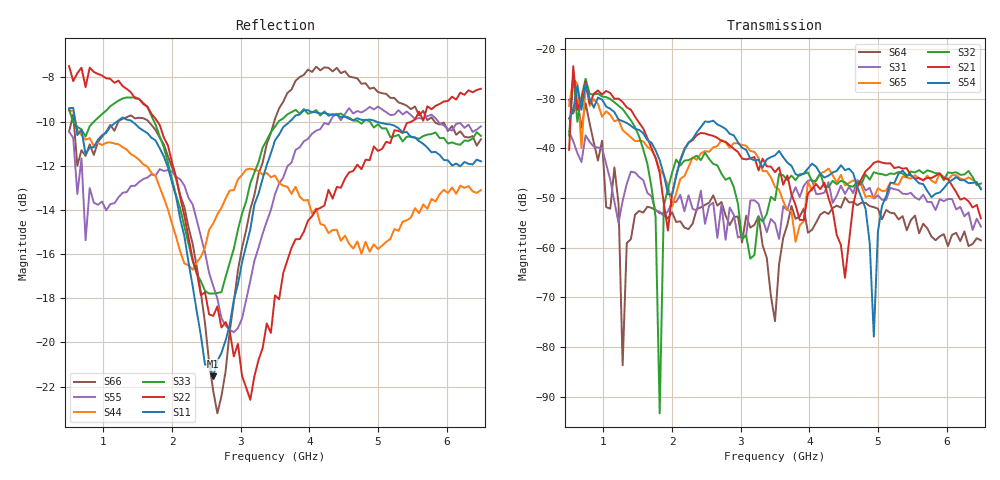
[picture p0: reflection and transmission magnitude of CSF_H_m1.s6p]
!Keysight Technologies,M9804A,MY58100912,A.14.10.03
!Date: Thursday, April 27, 2023 10:28:33
!Correction: S11(C  6-Port  )
!S12(C  6-Port  )
!S13(C  6-Port  )
!S14(C  6-Port  )
!S15(C  6-Port  )
!S16(C  6-Port  )
!S21(C  6-Port  )
!S22(C  6-Port  )
!S23(C  6-Port  )
!S24(C  6-Port  )
!S25(C  6-Port  )
!S26(C  6-Port  )
!S31(C  6-Port  )
!S32(C  6-Port  )
!S33(C  6-Port  )
!S34(C  6-Port  )
!S35(C  6-Port  )
!S36(C  6-Port  )
!S41(C  6-Port  )
!S42(C  6-Port  )
!S43(C  6-Port  )
!S44(C  6-Port  )
!S45(C  6-Port  )
!S46(C  6-Port  )
!S51(C  6-Port  )
!S52(C  6-Port  )
!S53(C  6-Port  )
!S54(C  6-Port  )
!S55(C  6-Port  )
!S56(C  6-Port  )
!S61(C  6-Port  )
!S62(C  6-Port  )
!S63(C  6-Port  )
!S64(C  6-Port  )
!S65(C  6-Port  )
!S66(C  6-Port  )
!S6P File: Measurement: :
# Hz S  RI  R 50
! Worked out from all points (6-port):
!   101 points, 500 MHz to 6.5 GHz, reference 50 ohm
!   strongest paths, dB at 500 MHz, 2 GHz, 3.5 GHz, 5 GHz, 6.5 GHz:
!     S54: -34.0, -49.3, -41.4, -56.7, -48.2
!     S21: -40.3, -49.2, -44.8, -42.6, -54.1
!     S32: -37.4, -44.9, -50.4, -45.1, -47.1
!     S65: -31.5, -51.7, -47.8, -48.0, -48.0
!     S31: -36.6, -50.9, -55.1, -49.4, -55.7
!     S64: -30.2, -52.8, -74.8, -52.1, -58.5
!   lowest |S11| = -21.5 dB at 2.6 GHz (marker M1), VSWR 1.18, Z = 42.5 + j2.13 ohm
!   |S11| at or under -10 dB: 590.1 MHz to 1.199 GHz (608.9 MHz wide, 68.1 % of centre); 1.418 GHz to 3.716 GHz (2.298 GHz wide, 89.5 % of centre); 4.974 GHz to end of sweep
